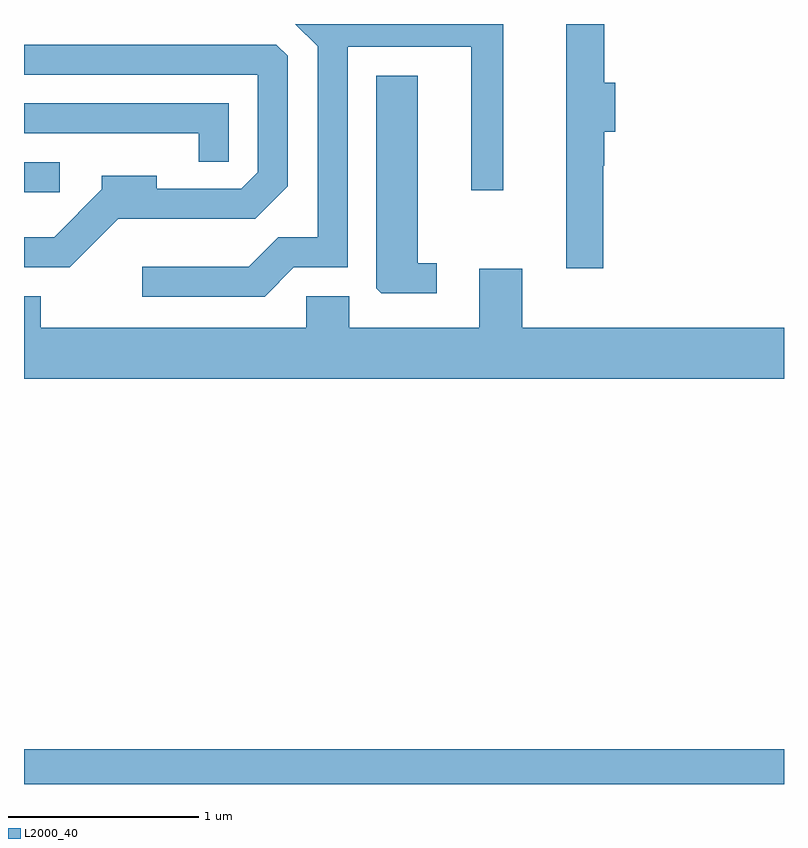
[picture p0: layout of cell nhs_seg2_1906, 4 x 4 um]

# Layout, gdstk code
import gdstk
lib = gdstk.Library(unit=1e-6, precision=1e-09)
def R(c, l, rs):  # rectangles x0, y0, x1, y1
    for r in rs: c.add(gdstk.rectangle(r[:2], r[2:], *l))
def P(c, l, *ps):  # polygons
    for p in ps: c.add(gdstk.Polygon(p, *l))
L2000_40 = (2000, 40)

nhs_seg2_1906 = lib.new_cell('nhs_seg2_1906')
R(nhs_seg2_1906, L2000_40, [(241.611,981.802,245.611,981.984), (241.611,984.916,241.798,985.074)])
P(nhs_seg2_1906, L2000_40, [(243.032,984.521),(243.314,984.521),(243.314,985.681),(243.966,985.681),(243.966,984.928),(244.134,984.928),(244.134,985.802),(243.038,985.802),(243.156,985.684),(243.156,984.679),(242.949,984.679),(242.794,984.524),(242.233,984.524),(242.233,984.366),(242.877,984.366)],
  [(244.659,985.055),(244.664,985.055),(244.664,985.236),(244.724,985.236),(244.724,985.494),(244.664,985.494),(244.664,985.802),(244.466,985.802),(244.466,984.516),(244.659,984.516)],
  [(242.107,984.776),(242.827,984.776),(242.999,984.949),(242.999,985.634),(242.939,985.694),(241.611,985.694),(241.611,985.536),(242.841,985.536),(242.841,985.022),(242.754,984.934),(242.309,984.934),(242.309,985.004),(242.021,985.004),(242.021,984.932),(241.769,984.679),(241.611,984.679),(241.611,984.521),(241.852,984.521)],
  [(243.783,984.544),(243.684,984.544),(243.684,985.529),(243.466,985.529),(243.466,984.412),(243.492,984.386),(243.783,984.386)],
  [(242.689,985.384),(241.611,985.384),(241.611,985.226),(242.531,985.226),(242.531,985.078),(242.689,985.078)],
  [(245.611,984.204),(244.234,984.204),(244.234,984.514),(244.006,984.514),(244.006,984.204),(243.324,984.204),(243.324,984.369),(243.096,984.369),(243.096,984.204),(241.699,984.204),(241.699,984.369),(241.611,984.369),(241.611,983.936),(245.611,983.936)])

lib.write_gds('nhs_seg2_1906.gds')
